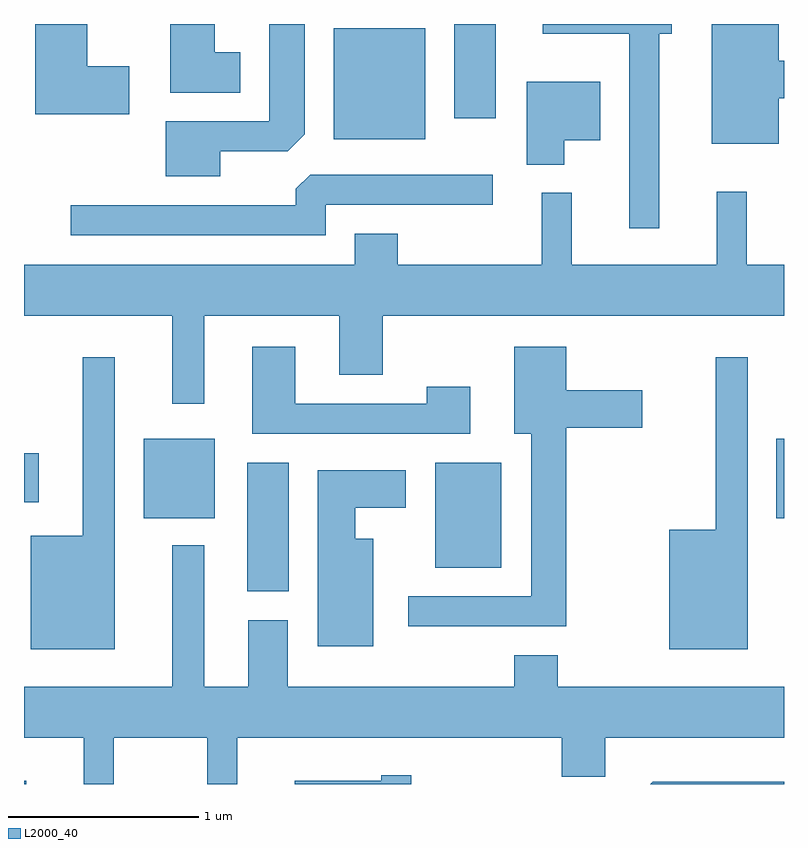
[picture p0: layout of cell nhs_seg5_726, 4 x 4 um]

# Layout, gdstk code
import gdstk
lib = gdstk.Library(unit=1e-6, precision=1e-09)
def R(c, l, rs):  # rectangles x0, y0, x1, y1
    for r in rs: c.add(gdstk.rectangle(r[:2], r[2:], *l))
def P(c, l, *ps):  # polygons
    for p in ps: c.add(gdstk.Polygon(p, *l))
L2000_40 = (2000, 40)

nhs_seg5_726 = lib.new_cell('nhs_seg5_726')
R(nhs_seg5_726, L2000_40, [(205.611,1492.072,205.624,1492.089), (206.786,1493.086,207.004,1493.764), (207.776,1493.211,208.124,1493.764), (206.241,1493.471,206.614,1493.889), (209.571,1493.471,209.611,1493.889), (205.611,1493.556,205.689,1493.814), (207.241,1495.466,207.724,1496.049), (207.876,1495.576,208.094,1496.072)])
P(nhs_seg5_726, L2000_40, [(209.584,1495.681),(209.611,1495.681),(209.611,1495.879),(209.584,1495.879),(209.584,1496.072),(209.231,1496.072),(209.231,1495.441),(209.584,1495.441)],
  [(206.644,1495.401),(206.999,1495.401),(207.089,1495.492),(207.089,1496.072),(206.901,1496.072),(206.901,1495.559),(206.356,1495.559),(206.356,1495.271),(206.644,1495.271)],
  [(206.164,1495.849),(205.944,1495.849),(205.944,1496.072),(205.671,1496.072),(205.671,1495.596),(206.164,1495.596)],
  [(206.749,1495.924),(206.614,1495.924),(206.614,1496.072),(206.381,1496.072),(206.381,1495.711),(206.749,1495.711)],
  [(208.954,1496.021),(209.019,1496.021),(209.019,1496.072),(208.341,1496.072),(208.341,1496.021),(208.796,1496.021),(208.796,1494.998),(208.954,1494.998)],
  [(208.454,1495.461),(208.644,1495.461),(208.644,1495.769),(208.256,1495.769),(208.256,1495.331),(208.454,1495.331)],
  [(207.199,1495.121),(208.078,1495.121),(208.078,1495.279),(207.117,1495.279),(207.041,1495.204),(207.041,1495.119),(205.858,1495.119),(205.858,1494.961),(207.199,1494.961)],
  [(206.559,1494.536),(207.271,1494.536),(207.271,1494.226),(207.499,1494.226),(207.499,1494.536),(209.611,1494.536),(209.611,1494.804),(209.414,1494.804),(209.414,1495.188),(209.256,1495.188),(209.256,1494.804),(208.494,1494.804),(208.494,1495.183),(208.336,1495.183),(208.336,1494.804),(207.579,1494.804),(207.579,1494.969),(207.351,1494.969),(207.351,1494.804),(205.611,1494.804),(205.611,1494.536),(206.391,1494.536),(206.391,1494.073),(206.559,1494.073)],
  [(208.464,1493.946),(208.864,1493.946),(208.864,1494.144),(208.464,1494.144),(208.464,1494.374),(208.191,1494.374),(208.191,1493.916),(208.281,1493.916),(208.281,1493.059),(207.633,1493.059),(207.633,1492.901),(208.464,1492.901)],
  [(207.959,1494.164),(207.731,1494.164),(207.731,1494.074),(207.039,1494.074),(207.039,1494.374),(206.811,1494.374),(206.811,1493.916),(207.959,1493.916)],
  [(206.089,1494.318),(205.921,1494.318),(205.921,1493.379),(205.646,1493.379),(205.646,1492.781),(206.089,1492.781)],
  [(209.419,1494.318),(209.251,1494.318),(209.251,1493.409),(209.006,1493.409),(209.006,1492.781),(209.419,1492.781)],
  [(207.449,1493.364),(207.354,1493.364),(207.354,1493.526),(207.619,1493.526),(207.619,1493.724),(207.156,1493.724),(207.156,1492.796),(207.449,1492.796)],
  [(206.084,1492.316),(206.576,1492.316),(206.576,1492.072),(206.734,1492.072),(206.734,1492.316),(208.441,1492.316),(208.441,1492.111),(208.669,1492.111),(208.669,1492.316),(209.611,1492.316),(209.611,1492.584),(208.419,1492.584),(208.419,1492.749),(208.191,1492.749),(208.191,1492.584),(206.999,1492.584),(206.999,1492.934),(206.791,1492.934),(206.791,1492.584),(206.559,1492.584),(206.559,1493.328),(206.391,1493.328),(206.391,1492.584),(205.611,1492.584),(205.611,1492.316),(205.926,1492.316),(205.926,1492.072),(206.084,1492.072)],
  [(207.649,1492.119),(207.491,1492.119),(207.491,1492.089),(207.036,1492.089),(207.036,1492.072),(207.649,1492.072)],
  [(209.611,1492.084),(208.919,1492.084),(208.907,1492.072),(209.611,1492.072)])

lib.write_gds('nhs_seg5_726.gds')
